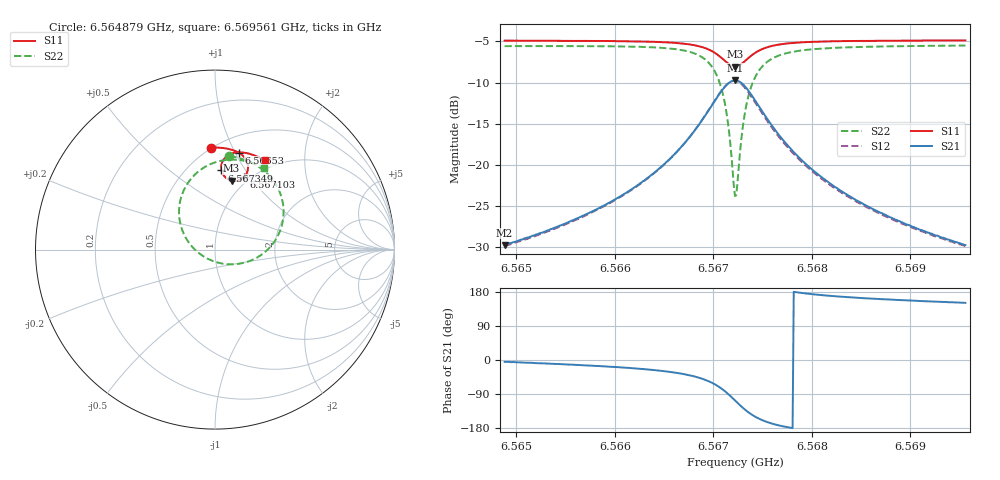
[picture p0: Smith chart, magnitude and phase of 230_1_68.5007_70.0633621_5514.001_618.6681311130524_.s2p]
#  HZ  S  RI  R  50.00
! Rohde & Schwarz Vector Network Analyzer
! Rohde-Schwarz,ZNB20-2Port,1311601062101988,3.16
! Created: UTC 3/20/2024, 5:14:00 PM
! freq[Hz]  re:S11  im:S11  re:S21  im:S21  re:S12  im:S12  re:S22  im:S22
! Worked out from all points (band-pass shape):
!   401 points, 6.564879 GHz to 6.569561 GHz, reference 50 ohm
!   highest |S21| = -9.74 dB at 6.56722 GHz (marker M1); lowest = -29.8 dB at 6.564879 GHz (marker M2)
!   |S21| within 3 dB of the highest: 6.566987 GHz to 6.567455 GHz (467.5 kHz wide, 0.00712 % of centre)
!   lowest |S11| = -8.1 dB at 6.56722 GHz (marker M3), VSWR 2.31, Z = 43.4 + j39.5 ohm
!   |S11| at or under -10 dB: nowhere
!   |S22| runs from -23.8 to -5.5 dB; largest |S21 - S12| = 0.017
!   S11 on the Smith chart (normalised r, x): 6.564879 GHz: 0.49, +0.83; 6.56653 GHz: 0.66, +1.03; 6.567103 GHz: 0.94, +0.94; 6.567349 GHz: 0.72, +0.78; 6.569561 GHz: 0.88, +1.29
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6.5648794e9  -0.022 0.5687  0.0324 -0.00274  0.0319 -0.0033  0.0808 0.5206
6.5656635e9  0.0443 0.5658  0.0472 -0.0114  0.0464 -0.012  0.1616 0.5015
6.5661199e9  0.0875 0.5577  0.0635 -0.0238  0.0626 -0.0245  0.2225 0.4744
6.5664476e9  0.1231 0.5447  0.0836 -0.0444  0.0823 -0.0454  0.2817 0.4324
6.5665295e9  0.1328 0.5394  0.0902 -0.053  0.0891 -0.0541  0.2995 0.415
6.5667519e9  0.1622 0.5157  0.1116 -0.0935  0.11 -0.0955  0.3539 0.3358
6.5669274e9  0.1823 0.4761  0.1214 -0.1631  0.1181 -0.1668  0.3821 0.2015
6.5670328e9  0.1808 0.4359  0.1003 -0.2335  0.0933 -0.2384  0.3452 0.0674
6.567103e9  0.1625 0.405  0.0538 -0.2861  0.0427 -0.2897  0.2578 -0.0296
6.5671498e9  0.139 0.3887  0.00242 -0.3119  -0.0115 -0.3123  0.1616 -0.0733
6.5671966e9  0.1083 0.3824  -0.0611 -0.3184  -0.0763 -0.314  0.0454 -0.0787
6.56722e9  0.0921 0.3843  -0.094 -0.3122  -0.1087 -0.3049  -0.0126 -0.0633
6.5672434e9  0.0767 0.3899  -0.1248 -0.2996  -0.1385 -0.2898  -0.066 -0.0366
6.5673019e9  0.0475 0.4152  -0.184 -0.2471  -0.1923 -0.2334  -0.1624 0.0647
6.5673488e9  0.0362 0.4409  -0.208 -0.1967  -0.2115 -0.1827  -0.1956 0.1565
6.5674424e9  0.0395 0.4854  -0.2095 -0.111  -0.2073 -0.1003  -0.1838 0.3059
6.5675828e9  0.0672 0.5218  -0.1726 -0.0405  -0.1687 -0.0344  -0.1049 0.4246
6.5677467e9  0.0993 0.5377  -0.1325 -0.00686  -0.1292 -0.00382  -0.0223 0.4775
6.5680041e9  0.1384 0.5422  -0.0928 0.0103  -0.0905 0.0117  0.0649 0.5
6.5683669e9  0.1795 0.5368  -0.0633 0.016  -0.0617 0.0167  0.1405 0.4989
6.5687883e9  0.2179 0.5254  -0.045 0.0169  -0.0439 0.0172  0.1989 0.4863
6.5695607e9  0.2777 0.4985  -0.0284 0.0158  -0.0277 0.0159  0.2743 0.455
